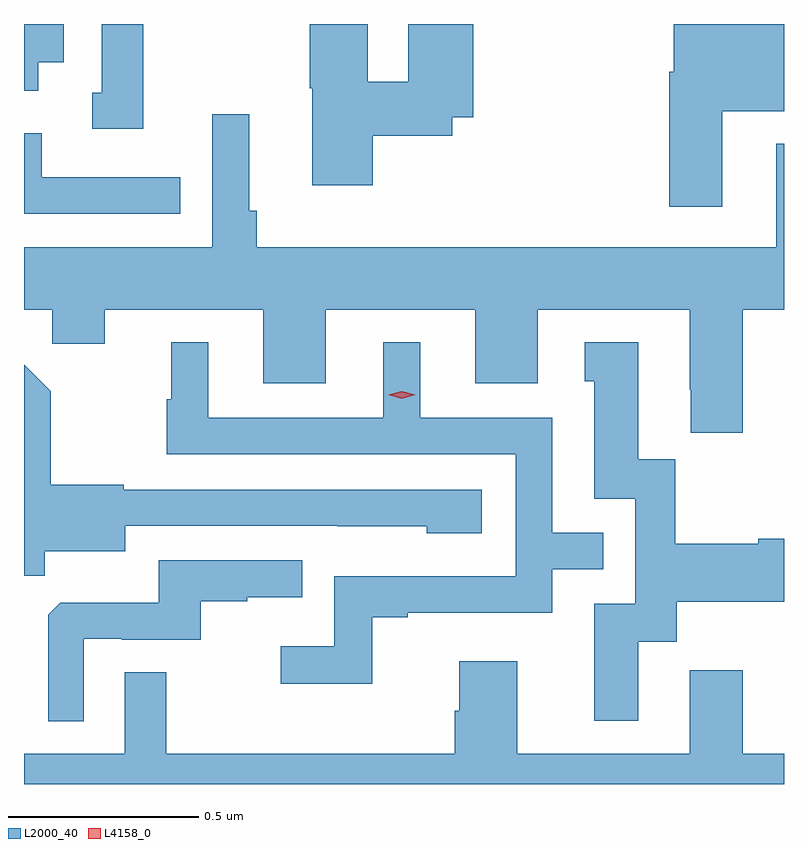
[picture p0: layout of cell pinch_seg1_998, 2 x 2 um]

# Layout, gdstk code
import gdstk
lib = gdstk.Library(unit=1e-6, precision=1e-09)
def P(c, l, *ps):  # polygons
    for p in ps: c.add(gdstk.Polygon(p, *l))
L2000_40 = (2000, 40)
L4158_0 = (4158, 0)

pinch_seg1_998 = lib.new_cell('pinch_seg1_998')
P(pinch_seg1_998, L2000_40, [(348.487,536.5),(348.378,536.5),(348.378,536.319),(348.353,536.319),(348.353,536.225),(348.487,536.225)],
  [(350.011,536.27),(350.173,536.27),(350.173,536.5),(349.883,536.5),(349.883,536.374),(349.871,536.374),(349.871,536.019),(350.011,536.019)],
  [(349.091,536.206),(349.3,536.206),(349.3,536.255),(349.355,536.255),(349.355,536.5),(349.184,536.5),(349.184,536.348),(349.078,536.348),(349.078,536.5),(348.925,536.5),(348.925,536.331),(348.932,536.331),(348.932,536.076),(349.091,536.076)],
  [(348.211,536.399),(348.277,536.399),(348.277,536.5),(348.173,536.5),(348.173,536.324),(348.211,536.324)],
  [(348.803,535.554),(348.967,535.554),(348.967,535.748),(349.361,535.748),(349.361,535.554),(349.525,535.554),(349.525,535.748),(349.925,535.748),(349.925,535.537),(349.928,535.537),(349.928,535.425),(350.065,535.425),(350.065,535.748),(350.173,535.748),(350.173,536.185),(350.153,536.185),(350.153,535.912),(348.785,535.912),(348.785,536.008),(348.766,536.008),(348.766,536.263),(348.669,536.263),(348.669,535.912),(348.173,535.912),(348.173,535.748),(348.247,535.748),(348.247,535.658),(348.385,535.658),(348.385,535.748),(348.803,535.748)],
  [(348.584,536.097),(348.22,536.097),(348.22,536.212),(348.173,536.212),(348.173,536.001),(348.584,536.001)],
  [(349.089,534.939),(349.183,534.939),(349.183,534.951),(349.563,534.951),(349.563,535.065),(349.697,535.065),(349.697,535.161),(349.563,535.161),(349.563,535.464),(349.216,535.464),(349.216,535.663),(349.118,535.663),(349.118,535.464),(348.658,535.464),(348.658,535.663),(348.56,535.663),(348.56,535.512),(348.549,535.512),(348.549,535.368),(349.467,535.368),(349.467,535.047),(348.99,535.047),(348.99,534.862),(348.849,534.862),(348.849,534.764),(349.089,534.764)],
  [(349.789,534.874),(349.891,534.874),(349.891,534.98),(350.173,534.98),(350.173,535.145),(350.105,535.145),(350.105,535.132),(349.887,535.132),(349.887,535.355),(349.789,535.355),(349.789,535.663),(349.649,535.663),(349.649,535.56),(349.673,535.56),(349.673,535.251),(349.782,535.251),(349.782,534.975),(349.673,534.975),(349.673,534.666),(349.789,534.666)],
  [(348.228,535.112),(348.439,535.112),(348.439,535.179),(348.997,535.179),(348.997,535.178),(349.233,535.178),(349.233,535.16),(349.378,535.16),(349.378,535.275),(348.435,535.275),(348.435,535.288),(348.243,535.288),(348.243,535.533),(348.173,535.603),(348.173,535.048),(348.228,535.048)],
  [(348.33,534.882),(348.43,534.882),(348.43,534.879),(348.638,534.879),(348.638,534.981),(348.761,534.981),(348.761,534.992),(348.905,534.992),(348.905,535.089),(348.528,535.089),(348.528,534.977),(348.269,534.977),(348.237,534.945),(348.237,534.665),(348.33,534.665)],
  [(350.173,534.58),(350.065,534.58),(350.065,534.799),(349.925,534.799),(349.925,534.58),(349.471,534.58),(349.471,534.823),(349.319,534.823),(349.319,534.693),(349.307,534.693),(349.307,534.58),(348.547,534.58),(348.547,534.794),(348.438,534.794),(348.438,534.58),(348.173,534.58),(348.173,534.5),(350.173,534.5)])
P(pinch_seg1_998, L4158_0, [(349.167,535.514),(349.131,535.524),(349.131,535.524),(349.131,535.524),(349.167,535.534),(349.203,535.524),(349.203,535.524),(349.203,535.524)])

lib.write_gds('pinch_seg1_998.gds')
